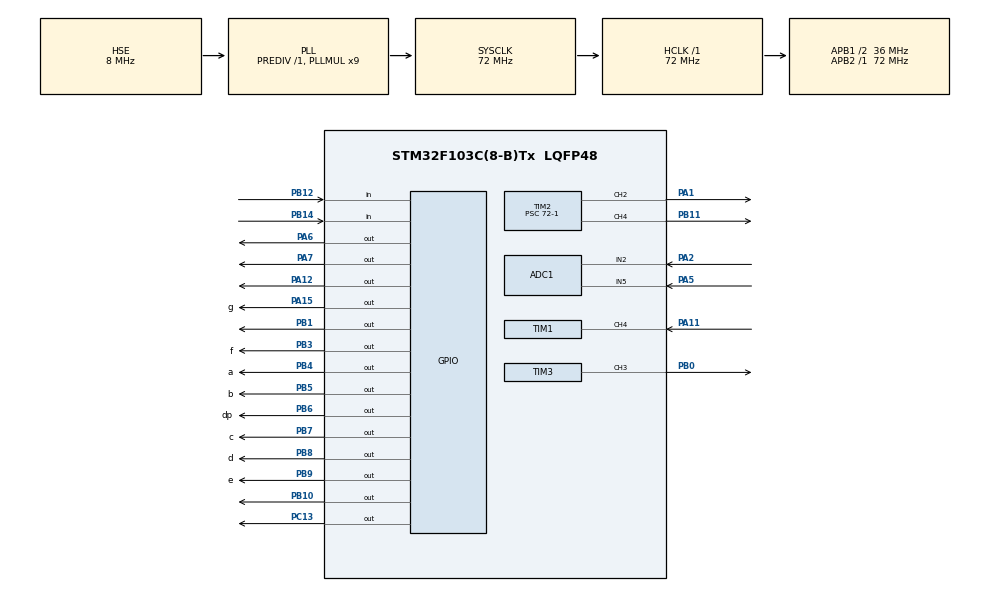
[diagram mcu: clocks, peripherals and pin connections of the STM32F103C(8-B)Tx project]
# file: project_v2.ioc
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ADC1.Channel-0\#ChannelRegularConversion=ADC_CHANNEL_2
ADC1.Channel-1\#ChannelRegularConversion=ADC_CHANNEL_5
ADC1.ContinuousConvMode=ENABLE
ADC1.ExternalTrigConv=ADC_SOFTWARE_START
ADC1.NbrOfConversion=2
ADC1.NbrOfConversionFlag=1
ADC1.Rank-0\#ChannelRegularConversion=1
ADC1.Rank-1\#ChannelRegularConversion=2
ADC1.SamplingTime-0\#ChannelRegularConversion=ADC_SAMPLETIME_239CYCLES_5
ADC1.SamplingTime-1\#ChannelRegularConversion=ADC_SAMPLETIME_239CYCLES_5
ADC1.master=1
Dma.ADC1.0.Direction=DMA_PERIPH_TO_MEMORY
Dma.ADC1.0.Instance=DMA1_Channel1
Dma.ADC1.0.MemDataAlignment=DMA_MDATAALIGN_HALFWORD
Dma.ADC1.0.MemInc=DMA_MINC_ENABLE
Dma.ADC1.0.Mode=DMA_CIRCULAR
Dma.ADC1.0.PeriphDataAlignment=DMA_PDATAALIGN_HALFWORD
Dma.ADC1.0.PeriphInc=DMA_PINC_DISABLE
Dma.ADC1.0.Priority=DMA_PRIORITY_LOW
Dma.Request0=ADC1
Mcu.Family=STM32F1
Mcu.Name=STM32F103C(8-B)Tx
Mcu.Package=LQFP48
NVIC.DMA1_Channel1_IRQn=true\:4\:0\:true\:false\:true\:false\:true\:true
NVIC.PriorityGroup=NVIC_PRIORITYGROUP_4
NVIC.TIM1_CC_IRQn=true\:0\:0\:false\:false\:true\:true\:true\:true
NVIC.TIM1_UP_IRQn=true\:0\:0\:false\:false\:true\:true\:true\:true
PA1.Signal=S_TIM2_CH2
PA11.Signal=S_TIM1_CH4
PA12.Signal=GPIO_Output
PA15.GPIO_Label=g
PA15.Signal=GPIO_Output
PA2.Signal=ADCx_IN2
PA5.Signal=ADCx_IN5
PA6.Signal=GPIO_Output
PA7.Signal=GPIO_Output
PB0.Signal=S_TIM3_CH3
PB1.Signal=GPIO_Output
PB10.Signal=GPIO_Output
PB11.Signal=S_TIM2_CH4
PB12.Signal=GPIO_Input
PB14.Signal=GPIO_Input
PB3.GPIO_Label=f
PB3.Signal=GPIO_Output
PB4.GPIO_Label=a
PB4.Signal=GPIO_Output
PB5.GPIO_Label=b
PB5.Signal=GPIO_Output
PB6.GPIO_Label=dp
PB6.Signal=GPIO_Output
PB7.GPIO_Label=c
PB7.Signal=GPIO_Output
PB8.GPIO_Label=d
PB8.Signal=GPIO_Output
PB9.GPIO_Label=e
PB9.Signal=GPIO_Output
PC13-TAMPER-RTC.Signal=GPIO_Output
PC14-OSC32_IN.Mode=LSE-External-Oscillator
PC14-OSC32_IN.Signal=RCC_OSC32_IN
PC15-OSC32_OUT.Mode=LSE-External-Oscillator
PC15-OSC32_OUT.Signal=RCC_OSC32_OUT
PD0-OSC_IN.Mode=HSE-External-Oscillator
PD0-OSC_IN.Signal=RCC_OSC_IN
PD1-OSC_OUT.Mode=HSE-External-Oscillator
PD1-OSC_OUT.Signal=RCC_OSC_OUT
ProjectManager.HeapSize=0x200
ProjectManager.StackSize=0x400
ProjectManager.TargetToolchain=CMake
RCC.ADCPresc=RCC_ADCPCLK2_DIV6
RCC.AHBFreq_Value=72000000
RCC.APB1CLKDivider=RCC_HCLK_DIV2
RCC.APB1Freq_Value=36000000
RCC.APB1TimFreq_Value=72000000
RCC.APB2Freq_Value=72000000
RCC.APB2TimFreq_Value=72000000
RCC.HCLKFreq_Value=72000000
RCC.PLLMUL=RCC_PLL_MUL9
RCC.PLLSourceVirtual=RCC_PLLSOURCE_HSE
RCC.SYSCLKFreq_VALUE=72000000
RCC.SYSCLKSource=RCC_SYSCLKSOURCE_PLLCLK
RCC.USBFreq_Value=72000000
SH.ADCx_IN2.0=ADC1_IN2,IN2
SH.ADCx_IN5.0=ADC1_IN5,IN5
SH.S_TIM1_CH4.0=TIM1_CH4,Input_Capture4_from_TI4
SH.S_TIM2_CH2.0=TIM2_CH2,PWM Generation2 CH2
SH.S_TIM2_CH4.0=TIM2_CH4,PWM Generation4 CH4
SH.S_TIM3_CH3.0=TIM3_CH3,PWM Generation3 CH3
TIM1.AutoReloadPreload=TIM_AUTORELOAD_PRELOAD_ENABLE
TIM1.Channel-Input_Capture4_from_TI4=TIM_CHANNEL_4
TIM1.Prescaler=72-1
TIM2.AutoReloadPreload=TIM_AUTORELOAD_PRELOAD_ENABLE
TIM2.Channel-PWM\ Generation2\ CH2=TIM_CHANNEL_2
TIM2.Channel-PWM\ Generation4\ CH4=TIM_CHANNEL_4
TIM2.Period=20000-1
TIM2.Prescaler=72-1
TIM3.AutoReloadPreload=TIM_AUTORELOAD_PRELOAD_ENABLE
TIM3.Channel-PWM\ Generation3\ CH3=TIM_CHANNEL_3
TIM3.Period=20000-1
TIM3.Prescaler=72-1
TIM3.TIM_MasterOutputTrigger=TIM_TRGO_UPDATE
TIM4.AutoReloadPreload=TIM_AUTORELOAD_PRELOAD_ENABLE
TIM4.Channel-Output\ Compare4\ No\ Output=TIM_CHANNEL_4
TIM4.OC4Preload=ENABLE
TIM4.Period=1000-1
TIM4.Prescaler=72-1
TIM4.Pulse-Output\ Compare4\ No\ Output=500-1
TIM4.TIM_MasterOutputTrigger=TIM_TRGO_UPDATE
VP_SYS_VS_ND.Mode=No_Debug
VP_TIM1_VS_ClockSourceINT.Mode=Internal
VP_TIM2_VS_ClockSourceINT.Mode=Internal
VP_TIM3_VS_ClockSourceINT.Mode=Internal
VP_TIM4_VS_ClockSourceINT.Mode=Internal
VP_TIM4_VS_no_output4.Mode=Output Compare4 No Output
board=custom

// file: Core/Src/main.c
/* USER CODE BEGIN Header */
/**
 ******************************************************************************
 * @file           : main.c
 * @brief          : Main program body
 ******************************************************************************
 * @attention
 *
 * Copyright (c) 2026 STMicroelectronics.
 * All rights reserved.
 *
 * This software is licensed under terms that can be found in the LICENSE file
 * in the root directory of this software component.
 * If no LICENSE file comes with this software, it is provided AS-IS.
 *
 ******************************************************************************
 */
/* USER CODE END Header */
#include "main.h"
#include "stm32f1xx_hal.h"
#include "stm32f1xx_hal_flash.h"
#include "stm32f1xx_hal_tim.h"
#include <stdint.h>

/* USER CODE BEGIN PTD */
typedef struct {
  uint8_t cur;
  uint8_t prev;
  uint8_t state;
} Buttons;

typedef struct {
  GPIO_TypeDef *in1base;
  GPIO_TypeDef *in2base;
  uint16_t in1pin;
  uint16_t in2pin;
  GPIO_PinState in1;
  GPIO_PinState in2;
  TIM_HandleTypeDef *tim;
  uint32_t channel;
  uint32_t speed;
} motor;

typedef enum { forward, backward } direction;
/* USER CODE END PTD */

/* USER CODE BEGIN PD */
#define BASE_SPEED 4900
#define BRAKE_SPEED 5700
#define TURN_SPEED 8000
#define STOP_DELAY_MS 250
#define TRIG_PIN GPIO_PIN_12
#define TRIG_PORT GPIOA
/* USER CODE END PD */

ADC_HandleTypeDef hadc1;
DMA_HandleTypeDef hdma_adc1;

TIM_HandleTypeDef htim1;
TIM_HandleTypeDef htim2;
TIM_HandleTypeDef htim3;
TIM_HandleTypeDef htim4;

/* USER CODE BEGIN PV */
volatile uint16_t adc_raw_val[2];
volatile uint16_t r2 = 0, l2 = 0;

// states
volatile uint8_t start1 = 0;
volatile uint8_t start2 = 0;
volatile uint8_t junc = 0;
volatile uint8_t obs = 0;

// thresholds
volatile uint16_t th_r2 = 0, th_l2 = 0;
volatile uint16_t low_r2 = 4095, low_l2 = 4095;
volatile uint16_t high_r2 = 0, high_l2 = 0;

volatile uint8_t stableB12, stableB14;

uint32_t IC_Val_Rise = 0;
uint32_t IC_Val_Fall = 0;
volatile uint32_t Difference = 0;
volatile uint32_t DISTANCE = 0;
uint32_t sticks = 0;
uint16_t TMR_OVC = 0;
uint8_t EDGE_STATE = 0;

uint8_t obstacle_count = 0;
uint8_t lap_count = 0;
uint8_t junc_count = 0;

Buttons start_Bt;
Buttons junc_Bt;
motor rightMotor, leftMotor;
/* USER CODE END PV */

void SystemClock_Config(void);
static void MX_GPIO_Init(void);
static void MX_DMA_Init(void);
static void MX_ADC1_Init(void);
static void MX_TIM4_Init(void);
static void MX_TIM3_Init(void);
static void MX_TIM2_Init(void);
static void MX_TIM1_Init(void);
/* USER CODE BEGIN PFP */
void SevenSeg_Update(uint8_t);
void ir_seven_seg(void);
void Line_Following(void);
void set_direction(motor *, direction);
void Apply_Motor_State(motor *);
void Delay_With_IR_Update(uint32_t);
void us_trigger(void);
uint32_t DWT_Delay_Init(void);
__STATIC_INLINE void DWT_Delay_us(volatile uint32_t);
uint8_t Get_Scaled_Reading(uint16_t);
void SevenSeg_LineFollow_Update(uint8_t, uint8_t, uint8_t, uint8_t, uint8_t);
void Perform_Obstacle_Sequence(void);
void SevenSeg_Clear(void);
void SevenSeg_Servo_Anim(uint8_t);
void Delay_With_US_Update(uint32_t);
/* USER CODE END PFP */

/* USER CODE BEGIN 0 */
void HAL_SYSTICK_Callback(void) {

  static uint_fast32_t B14c0 = 0, B14c1 = 0;
  static uint_fast32_t B12c0 = 0, B12c1 = 0;

  /* USER CODE BEGIN SysTick_IRQn 1 */
  // --- Button 14 Debounce ---
  if (HAL_GPIO_ReadPin(GPIOB, GPIO_PIN_14)) {
    B14c1++;
    B14c0 = 0;
    if (B14c1 >= 20) {
      stableB14 = 1;
    }
  } else {
    B14c0++;
    B14c1 = 0;
    if (B14c0 >= 20) {
      stableB14 = 0;
    }
  }

  // --- Button 12 Debounce ---
  if (HAL_GPIO_ReadPin(GPIOB, GPIO_PIN_12)) {
    B12c1++;
    B12c0 = 0;
    if (B12c1 >= 20) {
      stableB12 = 1;
    }
  } else {
    B12c0++;
    B12c1 = 0;
    if (B12c0 >= 20) {
      stableB12 = 0;
    }
  }
}

void HAL_TIM_IC_CaptureCallback(TIM_HandleTypeDef *htim) {
  if ((htim->Instance == TIM1) && (htim->Channel == HAL_TIM_ACTIVE_CHANNEL_4)) {
    if (EDGE_STATE == 0) {
      // Capture T1 & Reverse The ICU Edge Polarity
      IC_Val_Rise = HAL_TIM_ReadCapturedValue(htim, TIM_CHANNEL_4);
      EDGE_STATE = 1;
      __HAL_TIM_SET_CAPTUREPOLARITY(htim, TIM_CHANNEL_4,
                                    TIM_INPUTCHANNELPOLARITY_FALLING);
      TMR_OVC = 0;
    } else if (EDGE_STATE == 1) {
      // Read The Current ARR & Prescaler Values For The Timer
      uint16_t TMR_ARR = 65535;
      // Capture T2 & Calculate The Distance
      IC_Val_Fall = HAL_TIM_ReadCapturedValue(htim, TIM_CHANNEL_4);
      IC_Val_Fall += (TMR_OVC * (TMR_ARR + 1));
      Difference = IC_Val_Fall - IC_Val_Rise;
      // Write The Distance Value To The Global Struct & Reverse The ICU Edge

      EDGE_STATE = 0;
      __HAL_TIM_SET_CAPTUREPOLARITY(htim, TIM_CHANNEL_4,
                                    TIM_INPUTCHANNELPOLARITY_RISING);
    }
  }
}

void HAL_TIM_PeriodElapsedCallback(TIM_HandleTypeDef *htim) {
  if (htim->Instance == TIM1) {
    TMR_OVC++;
  }
}
/* USER CODE END 0 */

int main(void) {

  /* MCU Configuration--------------------------------------------------------*/

  /* Reset of all peripherals, Initializes the Flash interface and the Systick.
   */
  HAL_Init();

  /* Configure the system clock */
  SystemClock_Config();

  /* USER CODE BEGIN SysInit */
  DWT_Delay_Init();
  /* USER CODE END SysInit */

  /* Initialize all configured peripherals */
  MX_GPIO_Init();
  MX_DMA_Init();
  MX_ADC1_Init();
  MX_TIM4_Init();
  MX_TIM3_Init();
  MX_TIM2_Init();
  MX_TIM1_Init();
  /* USER CODE BEGIN 2 */
  HAL_ADC_Start_DMA(&hadc1, (uint32_t *)adc_raw_val, 2);
  uint32_t last_time_toggle = 0;
  uint32_t last_time_update = 0;
  uint32_t last_time_us_update = 0;
  uint32_t last_time_ping = 0;
  uint8_t show = 0;
  HAL_TIM_Base_Start(&htim4);
  HAL_TIM_Base_Start(&htim3);
  HAL_TIM_OC_Start(&htim4, TIM_CHANNEL_4);
  HAL_TIM_PWM_Start(&htim3, TIM_CHANNEL_3);
  HAL_TIM_PWM_Start(&htim2, TIM_CHANNEL_4);
  HAL_TIM_PWM_Start(&htim2, TIM_CHANNEL_2);
  set_direction(&rightMotor, forward);
  set_direction(&leftMotor, forward);
  HAL_TIM_IC_Start_IT(&htim1, TIM_CHANNEL_4);
  /* USER CODE END 2 */

  /* Infinite loop */
  /* USER CODE BEGIN WHILE */
  while (1) {
    start_Bt.cur = stableB12;

    if ((HAL_GetTick() - last_time_ping) >= 150) {
      us_trigger();
      last_time_ping = HAL_GetTick();
    }

    if (!start_Bt.cur && start_Bt.prev) {
      start_Bt.state = 1;
    } else {
      start_Bt.state = 0;
    }

    if (start_Bt.state && !start1) {
      start1 = 1;
    } else if (start_Bt.state && start1) {
      start2 = 1;
      th_l2 = (high_l2 + low_l2) / 2;
      th_r2 = (high_r2 + low_r2) / 2;
      SevenSeg_Update(10);
      HAL_Delay(3000);
    }

    r2 = adc_raw_val[1];
    l2 = adc_raw_val[0];

    if ((HAL_GetTick() - last_time_toggle) > 250) {
      HAL_GPIO_TogglePin(GPIOC, GPIO_PIN_13);
      last_time_toggle = HAL_GetTick();
    }

    if (!start2 && start1 && ((HAL_GetTick() - last_time_update) > 2000)) {
      if (show < 2) {
        show++;
      } else {
        show = 0;
      }
      last_time_update = HAL_GetTick();
    }

    if (start1 && !start2) {
      high_l2 = (l2 > high_l2) ? l2 : high_l2;
      high_r2 = (r2 > high_r2) ? r2 : high_r2;

      low_l2 = (l2 < low_l2) ? l2 : low_l2;
      low_r2 = (r2 < low_r2) ? r2 : low_r2;
      switch (show) {
      case 0:
        SevenSeg_Update(Get_Scaled_Reading(low_r2));
        break;

      case 1:
        SevenSeg_Update(Get_Scaled_Reading((high_r2 + low_r2) / 2));
        break;

      case 2:
        SevenSeg_Update(Get_Scaled_Reading(high_r2));
        break;

      default:
        break;
      }
    }

    if (start1 && start2 && !obs) {
      // forward
      Line_Following();

      // __HAL_TIM_SET_COMPARE(rightMotor.tim, rightMotor.channel,
      //                       rightMotor.speed);
      // HAL_GPIO_WritePin(rightMotor.in1base, rightMotor.in1pin,
      // rightMotor.in1); HAL_GPIO_WritePin(rightMotor.in2base,
      // rightMotor.in2pin, rightMotor.in2);

      // __HAL_TIM_SET_COMPARE(leftMotor.tim, leftMotor.channel,
      // leftMotor.speed); HAL_GPIO_WritePin(leftMotor.in1base,
      // leftMotor.in1pin, leftMotor.in1); HAL_GPIO_WritePin(leftMotor.in2base,
      // leftMotor.in2pin, leftMotor.in2); HAL_GPIO_WritePin(GPIOA, GPIO_PIN_6,
      // GPIO_PIN_RESET); HAL_GPIO_WritePin(GPIOA, GPIO_PIN_7, GPIO_PIN_SET);
    }

    if ((HAL_GetTick() - last_time_us_update) > 250) {
      DISTANCE = Difference / 58;
      uint32_t dist = DISTANCE;

      // Optional: If distance is too far, turn off the display
      if (Difference < 30000) { // If echo takes >30ms (too far)
        if (dist < 13) {
          obs = 1;
          __HAL_TIM_SET_COMPARE(rightMotor.tim, rightMotor.channel, 0);
          __HAL_TIM_SET_COMPARE(leftMotor.tim, leftMotor.channel, 0);
          Perform_Obstacle_Sequence();
        } else {
          obs = 0;
        }
      }
      last_time_us_update = HAL_GetTick();
    }

    start_Bt.prev = start_Bt.cur;
    /* USER CODE END WHILE */

  }
}

void SystemClock_Config(void) {
  RCC_OscInitTypeDef RCC_OscInitStruct = {0};
  RCC_ClkInitTypeDef RCC_ClkInitStruct = {0};
  RCC_PeriphCLKInitTypeDef PeriphClkInit = {0};

  /** Initializes the RCC Oscillators according to the specified parameters
   * in the RCC_OscInitTypeDef structure.
   */
  RCC_OscInitStruct.OscillatorType = RCC_OSCILLATORTYPE_HSE;
  RCC_OscInitStruct.HSEState = RCC_HSE_ON;
  RCC_OscInitStruct.HSEPredivValue = RCC_HSE_PREDIV_DIV1;
  RCC_OscInitStruct.HSIState = RCC_HSI_ON;
  RCC_OscInitStruct.PLL.PLLState = RCC_PLL_ON;
  RCC_OscInitStruct.PLL.PLLSource = RCC_PLLSOURCE_HSE;
  RCC_OscInitStruct.PLL.PLLMUL = RCC_PLL_MUL9;
  if (HAL_RCC_OscConfig(&RCC_OscInitStruct) != HAL_OK) {
    Error_Handler();
  }

  /** Initializes the CPU, AHB and APB buses clocks
   */
  RCC_ClkInitStruct.ClockType = RCC_CLOCKTYPE_HCLK | RCC_CLOCKTYPE_SYSCLK |
                                RCC_CLOCKTYPE_PCLK1 | RCC_CLOCKTYPE_PCLK2;
  RCC_ClkInitStruct.SYSCLKSource = RCC_SYSCLKSOURCE_PLLCLK;
  RCC_ClkInitStruct.AHBCLKDivider = RCC_SYSCLK_DIV1;
  RCC_ClkInitStruct.APB1CLKDivider = RCC_HCLK_DIV2;
  RCC_ClkInitStruct.APB2CLKDivider = RCC_HCLK_DIV1;

  if (HAL_RCC_ClockConfig(&RCC_ClkInitStruct, FLASH_LATENCY_2) != HAL_OK) {
    Error_Handler();
  }
  PeriphClkInit.PeriphClockSelection = RCC_PERIPHCLK_ADC;
  PeriphClkInit.AdcClockSelection = RCC_ADCPCLK2_DIV6;
  if (HAL_RCCEx_PeriphCLKConfig(&PeriphClkInit) != HAL_OK) {
    Error_Handler();
  }
}

static void MX_ADC1_Init(void) {

  ADC_ChannelConfTypeDef sConfig = {0};

  /** Common config
   */
  hadc1.Instance = ADC1;
  hadc1.Init.ScanConvMode = ADC_SCAN_ENABLE;
  hadc1.Init.ContinuousConvMode = ENABLE;
  hadc1.Init.DiscontinuousConvMode = DISABLE;
  hadc1.Init.ExternalTrigConv = ADC_SOFTWARE_START;
  hadc1.Init.DataAlign = ADC_DATAALIGN_RIGHT;
  hadc1.Init.NbrOfConversion = 2;
  if (HAL_ADC_Init(&hadc1) != HAL_OK) {
    Error_Handler();
  }

  /** Configure Regular Channel
   */
  sConfig.Channel = ADC_CHANNEL_2;
  sConfig.Rank = ADC_REGULAR_RANK_1;
  sConfig.SamplingTime = ADC_SAMPLETIME_239CYCLES_5;
  if (HAL_ADC_ConfigChannel(&hadc1, &sConfig) != HAL_OK) {
    Error_Handler();
  }

  /** Configure Regular Channel
   */
  sConfig.Channel = ADC_CHANNEL_5;
  sConfig.Rank = ADC_REGULAR_RANK_2;
  if (HAL_ADC_ConfigChannel(&hadc1, &sConfig) != HAL_OK) {
    Error_Handler();
  }
}

static void MX_TIM1_Init(void) {

  TIM_ClockConfigTypeDef sClockSourceConfig = {0};
  TIM_MasterConfigTypeDef sMasterConfig = {0};
  TIM_IC_InitTypeDef sConfigIC = {0};

  htim1.Instance = TIM1;
  htim1.Init.Prescaler = 72 - 1;
  htim1.Init.CounterMode = TIM_COUNTERMODE_UP;
  htim1.Init.Period = 65535;
  htim1.Init.ClockDivision = TIM_CLOCKDIVISION_DIV1;
  htim1.Init.RepetitionCounter = 0;
  htim1.Init.AutoReloadPreload = TIM_AUTORELOAD_PRELOAD_ENABLE;
  if (HAL_TIM_Base_Init(&htim1) != HAL_OK) {
    Error_Handler();
  }
  sClockSourceConfig.ClockSource = TIM_CLOCKSOURCE_INTERNAL;
  if (HAL_TIM_ConfigClockSource(&htim1, &sClockSourceConfig) != HAL_OK) {
    Error_Handler();
  }
  if (HAL_TIM_IC_Init(&htim1) != HAL_OK) {
    Error_Handler();
  }
  sMasterConfig.MasterOutputTrigger = TIM_TRGO_RESET;
  sMasterConfig.MasterSlaveMode = TIM_MASTERSLAVEMODE_DISABLE;
  if (HAL_TIMEx_MasterConfigSynchronization(&htim1, &sMasterConfig) != HAL_OK) {
    Error_Handler();
  }
  sConfigIC.ICPolarity = TIM_INPUTCHANNELPOLARITY_RISING;
  sConfigIC.ICSelection = TIM_ICSELECTION_DIRECTTI;
  sConfigIC.ICPrescaler = TIM_ICPSC_DIV1;
  sConfigIC.ICFilter = 0;
  if (HAL_TIM_IC_ConfigChannel(&htim1, &sConfigIC, TIM_CHANNEL_4) != HAL_OK) {
    Error_Handler();
  }
}

static void MX_TIM2_Init(void) {

  TIM_ClockConfigTypeDef sClockSourceConfig = {0};
  TIM_MasterConfigTypeDef sMasterConfig = {0};
  TIM_OC_InitTypeDef sConfigOC = {0};

  htim2.Instance = TIM2;
  htim2.Init.Prescaler = 72 - 1;
  htim2.Init.CounterMode = TIM_COUNTERMODE_UP;
  htim2.Init.Period = 20000 - 1;
  htim2.Init.ClockDivision = TIM_CLOCKDIVISION_DIV1;
  htim2.Init.AutoReloadPreload = TIM_AUTORELOAD_PRELOAD_ENABLE;
  if (HAL_TIM_Base_Init(&htim2) != HAL_OK) {
    Error_Handler();
  }
  sClockSourceConfig.ClockSource = TIM_CLOCKSOURCE_INTERNAL;
  if (HAL_TIM_ConfigClockSource(&htim2, &sClockSourceConfig) != HAL_OK) {
    Error_Handler();
  }
  if (HAL_TIM_PWM_Init(&htim2) != HAL_OK) {
    Error_Handler();
  }
  sMasterConfig.MasterOutputTrigger = TIM_TRGO_RESET;
  sMasterConfig.MasterSlaveMode = TIM_MASTERSLAVEMODE_DISABLE;
  if (HAL_TIMEx_MasterConfigSynchronization(&htim2, &sMasterConfig) != HAL_OK) {
    Error_Handler();
  }
  sConfigOC.OCMode = TIM_OCMODE_PWM1;
  sConfigOC.Pulse = 0;
  sConfigOC.OCPolarity = TIM_OCPOLARITY_HIGH;
  sConfigOC.OCFastMode = TIM_OCFAST_DISABLE;
  if (HAL_TIM_PWM_ConfigChannel(&htim2, &sConfigOC, TIM_CHANNEL_2) != HAL_OK) {
    Error_Handler();
  }
  if (HAL_TIM_PWM_ConfigChannel(&htim2, &sConfigOC, TIM_CHANNEL_4) != HAL_OK) {
    Error_Handler();
  }
  /* USER CODE BEGIN TIM2_Init 2 */

  rightMotor.tim = &htim2;
  rightMotor.channel = TIM_CHANNEL_4;
  /* USER CODE END TIM2_Init 2 */
  HAL_TIM_MspPostInit(&htim2);
}

static void MX_TIM3_Init(void) {

  TIM_ClockConfigTypeDef sClockSourceConfig = {0};
  TIM_MasterConfigTypeDef sMasterConfig = {0};
  TIM_OC_InitTypeDef sConfigOC = {0};

  htim3.Instance = TIM3;
  htim3.Init.Prescaler = 72 - 1;
  htim3.Init.CounterMode = TIM_COUNTERMODE_UP;
  htim3.Init.Period = 20000 - 1;
  htim3.Init.ClockDivision = TIM_CLOCKDIVISION_DIV1;
  htim3.Init.AutoReloadPreload = TIM_AUTORELOAD_PRELOAD_ENABLE;
  if (HAL_TIM_Base_Init(&htim3) != HAL_OK) {
    Error_Handler();
  }
  sClockSourceConfig.ClockSource = TIM_CLOCKSOURCE_INTERNAL;
  if (HAL_TIM_ConfigClockSource(&htim3, &sClockSourceConfig) != HAL_OK) {
    Error_Handler();
  }
  if (HAL_TIM_PWM_Init(&htim3) != HAL_OK) {
    Error_Handler();
  }
  sMasterConfig.MasterOutputTrigger = TIM_TRGO_UPDATE;
  sMasterConfig.MasterSlaveMode = TIM_MASTERSLAVEMODE_DISABLE;
  if (HAL_TIMEx_MasterConfigSynchronization(&htim3, &sMasterConfig) != HAL_OK) {
    Error_Handler();
  }
  sConfigOC.OCMode = TIM_OCMODE_PWM1;
  sConfigOC.Pulse = 0;
  sConfigOC.OCPolarity = TIM_OCPOLARITY_HIGH;
  sConfigOC.OCFastMode = TIM_OCFAST_DISABLE;
  if (HAL_TIM_PWM_ConfigChannel(&htim3, &sConfigOC, TIM_CHANNEL_3) != HAL_OK) {
    Error_Handler();
  }
  /* USER CODE BEGIN TIM3_Init 2 */
  leftMotor.tim = &htim3;
  leftMotor.channel = TIM_CHANNEL_3;
  /* USER CODE END TIM3_Init 2 */
  HAL_TIM_MspPostInit(&htim3);
}

static void MX_TIM4_Init(void) {

  TIM_ClockConfigTypeDef sClockSourceConfig = {0};
  TIM_MasterConfigTypeDef sMasterConfig = {0};
  TIM_OC_InitTypeDef sConfigOC = {0};

  htim4.Instance = TIM4;
  htim4.Init.Prescaler = 72 - 1;
  htim4.Init.CounterMode = TIM_COUNTERMODE_UP;
  htim4.Init.Period = 1000 - 1;
  htim4.Init.ClockDivision = TIM_CLOCKDIVISION_DIV1;
  htim4.Init.AutoReloadPreload = TIM_AUTORELOAD_PRELOAD_ENABLE;
  if (HAL_TIM_Base_Init(&htim4) != HAL_OK) {
    Error_Handler();
  }
  sClockSourceConfig.ClockSource = TIM_CLOCKSOURCE_INTERNAL;
  if (HAL_TIM_ConfigClockSource(&htim4, &sClockSourceConfig) != HAL_OK) {
    Error_Handler();
  }
  if (HAL_TIM_OC_Init(&htim4) != HAL_OK) {
    Error_Handler();
  }
  sMasterConfig.MasterOutputTrigger = TIM_TRGO_UPDATE;
  sMasterConfig.MasterSlaveMode = TIM_MASTERSLAVEMODE_DISABLE;
  if (HAL_TIMEx_MasterConfigSynchronization(&htim4, &sMasterConfig) != HAL_OK) {
    Error_Handler();
  }
  sConfigOC.OCMode = TIM_OCMODE_TIMING;
  sConfigOC.Pulse = 500 - 1;
  sConfigOC.OCPolarity = TIM_OCPOLARITY_HIGH;
  sConfigOC.OCFastMode = TIM_OCFAST_DISABLE;
  if (HAL_TIM_OC_ConfigChannel(&htim4, &sConfigOC, TIM_CHANNEL_4) != HAL_OK) {
    Error_Handler();
  }
  __HAL_TIM_ENABLE_OCxPRELOAD(&htim4, TIM_CHANNEL_4);
}

static void MX_DMA_Init(void) {

  /* DMA controller clock enable */
  __HAL_RCC_DMA1_CLK_ENABLE();

  /* DMA interrupt init */
  /* DMA1_Channel1_IRQn interrupt configuration */
  HAL_NVIC_SetPriority(DMA1_Channel1_IRQn, 4, 0);
  HAL_NVIC_EnableIRQ(DMA1_Channel1_IRQn);
}

static void MX_GPIO_Init(void) {
  GPIO_InitTypeDef GPIO_InitStruct = {0};

  /* GPIO Ports Clock Enable */
  __HAL_RCC_GPIOC_CLK_ENABLE();
  __HAL_RCC_GPIOD_CLK_ENABLE();
  __HAL_RCC_GPIOA_CLK_ENABLE();
  __HAL_RCC_GPIOB_CLK_ENABLE();

  /*Configure GPIO pin Output Level */
  HAL_GPIO_WritePin(GPIOC, GPIO_PIN_13, GPIO_PIN_RESET);

  /*Configure GPIO pin Output Level */
  HAL_GPIO_WritePin(GPIOA, GPIO_PIN_6 | GPIO_PIN_7 | GPIO_PIN_12 | g_Pin,
                    GPIO_PIN_RESET);

  /*Configure GPIO pin Output Level */
  HAL_GPIO_WritePin(GPIOB,
                    GPIO_PIN_1 | GPIO_PIN_10 | f_Pin | a_Pin | b_Pin | dp_Pin |
                        c_Pin | d_Pin | e_Pin,
                    GPIO_PIN_RESET);

  /*Configure GPIO pin : PC13 */
  GPIO_InitStruct.Pin = GPIO_PIN_13;
  GPIO_InitStruct.Mode = GPIO_MODE_OUTPUT_PP;
  GPIO_InitStruct.Pull = GPIO_NOPULL;
  GPIO_InitStruct.Speed = GPIO_SPEED_FREQ_LOW;
  HAL_GPIO_Init(GPIOC, &GPIO_InitStruct);

  /*Configure GPIO pins : PA6 PA7 PA12 g_Pin */
  GPIO_InitStruct.Pin = GPIO_PIN_6 | GPIO_PIN_7 | GPIO_PIN_12 | g_Pin;
  GPIO_InitStruct.Mode = GPIO_MODE_OUTPUT_PP;
  GPIO_InitStruct.Pull = GPIO_NOPULL;
  GPIO_InitStruct.Speed = GPIO_SPEED_FREQ_LOW;
  HAL_GPIO_Init(GPIOA, &GPIO_InitStruct);

  /*Configure GPIO pins : PB1 PB10 f_Pin a_Pin
                           b_Pin dp_Pin c_Pin d_Pin
                           e_Pin */
  GPIO_InitStruct.Pin = GPIO_PIN_1 | GPIO_PIN_10 | f_Pin | a_Pin | b_Pin |
                        dp_Pin | c_Pin | d_Pin | e_Pin;
  GPIO_InitStruct.Mode = GPIO_MODE_OUTPUT_PP;
  GPIO_InitStruct.Pull = GPIO_NOPULL;
  GPIO_InitStruct.Speed = GPIO_SPEED_FREQ_LOW;
  HAL_GPIO_Init(GPIOB, &GPIO_InitStruct);

  /*Configure GPIO pins : PB12 PB14 */
  GPIO_InitStruct.Pin = GPIO_PIN_12 | GPIO_PIN_14;
  GPIO_InitStruct.Mode = GPIO_MODE_INPUT;
  GPIO_InitStruct.Pull = GPIO_NOPULL;
  HAL_GPIO_Init(GPIOB, &GPIO_InitStruct);

  /* USER CODE BEGIN MX_GPIO_Init_2 */

  rightMotor.in1base = GPIOB;
  rightMotor.in2base = GPIOB;
  rightMotor.in1pin = GPIO_PIN_10;
  rightMotor.in2pin = GPIO_PIN_1;

  leftMotor.in1base = GPIOA;
  leftMotor.in1pin = GPIO_PIN_7;
  leftMotor.in2base = GPIOA;
  leftMotor.in2pin = GPIO_PIN_6;
  /* USER CODE END MX_GPIO_Init_2 */
}

/* USER CODE BEGIN 4 */
void SevenSeg_Update(uint8_t number) {
  // Segment logic (1 = ON)
  // Map: A, B, C, D, E, F, G
  // You must check if your display is Common Cathode (set PIN_SET to turn on)
  // or Common Anode (set PIN_RESET to turn on).
  // Assuming Common Cathode (Logic 1 = ON) below:

  uint8_t segs[11][7] = {
      // a, b, c, d, e, f, g
      {1, 1, 1, 1, 1, 1, 0}, // 0
      {0, 1, 1, 0, 0, 0, 0}, // 1
      {1, 1, 0, 1, 1, 0, 1}, // 2
      {1, 1, 1, 1, 0, 0, 1}, // 3
      {0, 1, 1, 0, 0, 1, 1}, // 4
      {1, 0, 1, 1, 0, 1, 1}, // 5
      {1, 0, 1, 1, 1, 1, 1}, // 6
      {1, 1, 1, 0, 0, 0, 0}, // 7
      {1, 1, 1, 1, 1, 1, 1}, // 8
      {1, 1, 1, 1, 0, 1, 1}, // 9
      {0, 0, 0, 0, 0, 0, 0}  // 10 (OFF)
  };

  // Clamp
  if (number > 10)
    number = 10;

  // Update GPIOA Pins (a, b, f, g)
  HAL_GPIO_WritePin(GPIOB, a_Pin,
                    segs[number][0] ? GPIO_PIN_SET : GPIO_PIN_RESET);
  HAL_GPIO_WritePin(GPIOB, b_Pin,
                    segs[number][1] ? GPIO_PIN_SET : GPIO_PIN_RESET);
  HAL_GPIO_WritePin(GPIOB, f_Pin,
                    segs[number][5] ? GPIO_PIN_SET : GPIO_PIN_RESET);
  HAL_GPIO_WritePin(GPIOA, g_Pin,
                    segs[number][6] ? GPIO_PIN_SET : GPIO_PIN_RESET);

  // Update GPIOB Pins (c, d, e)
  HAL_GPIO_WritePin(GPIOB, c_Pin,
                    segs[number][2] ? GPIO_PIN_SET : GPIO_PIN_RESET);
  HAL_GPIO_WritePin(GPIOB, d_Pin,
                    segs[number][3] ? GPIO_PIN_SET : GPIO_PIN_RESET);
  HAL_GPIO_WritePin(GPIOB, e_Pin,
                    segs[number][4] ? GPIO_PIN_SET : GPIO_PIN_RESET);

  // Note: 'dp_Pin' is usually kept off or used for other status
  HAL_GPIO_WritePin(GPIOB, dp_Pin, GPIO_PIN_RESET);
}

void set_direction(motor *mtr, direction dir) {
  if (dir) {
    mtr->in1 = GPIO_PIN_SET;
    mtr->in2 = GPIO_PIN_RESET;
  } else {
    mtr->in1 = GPIO_PIN_RESET;
    mtr->in2 = GPIO_PIN_SET;
  }
}

void ir_seven_seg(void) {
  HAL_GPIO_WritePin(GPIOB, b_Pin, (r2 > th_r2) ? GPIO_PIN_SET : GPIO_PIN_RESET);
  HAL_GPIO_WritePin(GPIOB, f_Pin, (l2 > th_l2) ? GPIO_PIN_SET : GPIO_PIN_RESET);
}

void Delay_With_IR_Update(uint32_t ms) {
  uint32_t start = HAL_GetTick();
  while ((HAL_GetTick() - start) < ms) {
    // 1. Refresh global variables from DMA
    r2 = adc_raw_val[1];
    l2 = adc_raw_val[0];

    // 2. Update Display
    SevenSeg_LineFollow_Update(l2 > th_l2, r2 > th_r2, 1, 1, obs);
  }
}

void Delay_With_US_Update(uint32_t ms) {
  uint32_t start = HAL_GetTick();
  while ((HAL_GetTick() - start) < ms) {
    // 1. Refresh global variables from DMA
    r2 = adc_raw_val[1];
    l2 = adc_raw_val[0];
    DISTANCE = Difference / 58;
    uint32_t dist = DISTANCE;

    // Optional: If distance is too far, turn off the display
    if (Difference < 30000) { // If echo takes >30ms (too far)
      if (dist < 13) {
        obs = 1;
        __HAL_TIM_SET_COMPARE(rightMotor.tim, rightMotor.channel, 0);
        __HAL_TIM_SET_COMPARE(leftMotor.tim, leftMotor.channel, 0);
        Perform_Obstacle_Sequence();
      } else {
        obs = 0;
      }
    }

    // 2. Update Display
    SevenSeg_LineFollow_Update(l2 > th_l2, r2 > th_r2, 1, 1, obs);
  }
}

void Line_Following(void) {
  if (adc_raw_val[1] > th_r2 && adc_raw_val[0] > th_l2) {
    junc = 1;
  }
  if (junc) {
    __HAL_TIM_SET_COMPARE(rightMotor.tim, rightMotor.channel, 0);
    __HAL_TIM_SET_COMPARE(leftMotor.tim, leftMotor.channel, 0);
    SevenSeg_LineFollow_Update(l2 > th_l2, r2 > th_r2, 0, 0, obs);
    junc_count++;
    uint32_t show_lap_dur = HAL_GetTick();
    while (junc) {
      // Refresh Sensors & Display inside the wait loop!
      if (junc_count >= 3) {
        junc_count = 0;
        lap_count++;
      }
      r2 = adc_raw_val[1];
      l2 = adc_raw_val[0];
      if ((HAL_GetTick() - show_lap_dur) < 2000) {
        SevenSeg_Update((lap_count > 9) ? 9 : lap_count);
      } else {
        SevenSeg_LineFollow_Update(l2 > th_l2, r2 > th_r2, 0, 0, obs);
      }
      junc_Bt.cur = stableB14;
      if (!junc_Bt.cur && junc_Bt.prev)
        junc_Bt.state = 1;
      else
        junc_Bt.state = 0;

      junc = !junc_Bt.state;
      junc_Bt.prev = junc_Bt.cur;
    }
    Apply_Motor_State(&rightMotor);
    Apply_Motor_State(&leftMotor);
    __HAL_TIM_SET_COMPARE(rightMotor.tim, rightMotor.channel, BRAKE_SPEED);
    __HAL_TIM_SET_COMPARE(leftMotor.tim, leftMotor.channel, 0);
    Delay_With_IR_Update(300);

    __HAL_TIM_SET_COMPARE(rightMotor.tim, rightMotor.channel, 0);
    __HAL_TIM_SET_COMPARE(leftMotor.tim, leftMotor.channel, 0);
    Delay_With_IR_Update(600);

    SevenSeg_LineFollow_Update(l2 > th_l2, r2 > th_r2, 1, 1, obs);
    set_direction(&rightMotor, forward);
    set_direction(&leftMotor, forward);
    Apply_Motor_State(&rightMotor);
    Apply_Motor_State(&leftMotor);
    __HAL_TIM_SET_COMPARE(rightMotor.tim, rightMotor.channel, BASE_SPEED);
    __HAL_TIM_SET_COMPARE(leftMotor.tim, leftMotor.channel, BASE_SPEED + 800);

    Delay_With_US_Update(400);
  }
  rightMotor.speed = BASE_SPEED * (adc_raw_val[1] < th_r2);
  leftMotor.speed = BASE_SPEED * (adc_raw_val[0] < th_l2);
  set_direction(&rightMotor, forward);
  set_direction(&leftMotor, forward);
  Apply_Motor_State(&rightMotor);
  Apply_Motor_State(&leftMotor);
  SevenSeg_LineFollow_Update(l2 > th_l2, r2 > th_r2, l2 < th_l2, r2 < th_r2,
                             obs);
  __HAL_TIM_SET_COMPARE(rightMotor.tim, rightMotor.channel, rightMotor.speed);
  __HAL_TIM_SET_COMPARE(leftMotor.tim, leftMotor.channel, leftMotor.speed);
}

void Apply_Motor_State(motor *mtr) {
  HAL_GPIO_WritePin(mtr->in1base, mtr->in1pin, mtr->in1);
  HAL_GPIO_WritePin(mtr->in2base, mtr->in2pin, mtr->in2);
}

void us_trigger(void) {
  HAL_GPIO_WritePin(TRIG_PORT, TRIG_PIN,
                    GPIO_PIN_SET); // pull the TRIG pin HIGH
  DWT_Delay_us(10);                // wait for 10 us
  HAL_GPIO_WritePin(TRIG_PORT, TRIG_PIN,
                    GPIO_PIN_RESET); // pull the TRIG pin low
}

uint32_t DWT_Delay_Init(void) {
  /* Disable TRC */
  CoreDebug->DEMCR &= ~CoreDebug_DEMCR_TRCENA_Msk; // ~0x01000000;
  /* Enable TRC */
  CoreDebug->DEMCR |= CoreDebug_DEMCR_TRCENA_Msk; // 0x01000000;

  /* Disable clock cycle counter */
  DWT->CTRL &= ~DWT_CTRL_CYCCNTENA_Msk; //~0x00000001;
  /* Enable  clock cycle counter */
  DWT->CTRL |= DWT_CTRL_CYCCNTENA_Msk; // 0x00000001;

  /* Reset the clock cycle counter value */
  DWT->CYCCNT = 0;

  /* 3 NO OPERATION instructions */
  __ASM volatile("NOP");
  __ASM volatile("NOP");
  __ASM volatile("NOP");

  /* Check if clock cycle counter has started */
  if (DWT->CYCCNT) {
    return 0; /*clock cycle counter started*/
  } else {
    return 1; /*clock cycle counter not started*/
  }
}

__STATIC_INLINE void DWT_Delay_us(volatile uint32_t au32_microseconds) {
  uint32_t au32_initial_ticks = DWT->CYCCNT;
  uint32_t au32_ticks = (HAL_RCC_GetHCLKFreq() / 1000000);
  au32_microseconds *= au32_ticks;
  while ((DWT->CYCCNT - au32_initial_ticks) < au32_microseconds - au32_ticks)
    ;
}

uint8_t Get_Scaled_Reading(uint16_t adc_val) {
  // 1. Scale 12-bit (4096) down to 10-bit (1024) to match image spec
  uint16_t val_10bit = adc_val / 4;

  // 2. Map 0-1023 to 0-9
  uint8_t disp = val_10bit / 100;
  if (disp > 9)
    disp = 9;

  return disp;
}

void SevenSeg_LineFollow_Update(uint8_t left_ir_on, uint8_t right_ir_on,
                                uint8_t left_motor_on, uint8_t right_motor_on,
                                uint8_t obstacle_on) {

  // --- Line Position Indicators (a, g, d) ---
  // Logic:
  // Center (g) = Both sensors see line (or stable)
  // Left (a)   = Only Left sees line
  // Right (d)  = Only Right sees line
  uint8_t pos_center = (!left_ir_on && !right_ir_on);
  uint8_t pos_left = (left_ir_on && !right_ir_on);
  uint8_t pos_right = (!left_ir_on && right_ir_on);

  // If lost (neither), we might default to Center or keep all OFF.
  // Here we strictly follow detection.

  HAL_GPIO_WritePin(GPIOB, a_Pin,
                    pos_left ? GPIO_PIN_SET : GPIO_PIN_RESET); // Top: Left
  HAL_GPIO_WritePin(GPIOA, g_Pin,
                    pos_center ? GPIO_PIN_SET : GPIO_PIN_RESET); // Mid: Center
  HAL_GPIO_WritePin(GPIOB, d_Pin,
                    pos_right ? GPIO_PIN_SET : GPIO_PIN_RESET); // Bot: Right

  // --- IR Sensor Readings (b, c) ---
  // Mapping: b (Top Right) = Left Sensor, c (Bot Right) = Right Sensor
  // (You can swap these if physical layout differs)
  HAL_GPIO_WritePin(GPIOB, b_Pin, left_ir_on ? GPIO_PIN_SET : GPIO_PIN_RESET);
  HAL_GPIO_WritePin(GPIOB, c_Pin, right_ir_on ? GPIO_PIN_SET : GPIO_PIN_RESET);

  // --- Motor Status (f, e) ---
  // f (Top Left) = Left Motor, e (Bot Left) = Right Motor
  HAL_GPIO_WritePin(GPIOB, f_Pin,
                    left_motor_on ? GPIO_PIN_SET : GPIO_PIN_RESET);
  HAL_GPIO_WritePin(GPIOB, e_Pin,
                    right_motor_on ? GPIO_PIN_SET : GPIO_PIN_RESET);

  // --- Obstacle Indicator (DP) ---
  HAL_GPIO_WritePin(GPIOB, dp_Pin, obstacle_on ? GPIO_PIN_SET : GPIO_PIN_RESET);
}

void Perform_Obstacle_Sequence(void) {
  // 1. Stop Motors
  __HAL_TIM_SET_COMPARE(rightMotor.tim, rightMotor.channel, 0);
  __HAL_TIM_SET_COMPARE(leftMotor.tim, leftMotor.channel, 0);

  // 2. Display PREVIOUS count (2 seconds)
  SevenSeg_Update(obstacle_count);
  HAL_Delay(2000);

  // 3. Servo Action 0 degrees (g + b)
  TIM2->CCR2 = 1000;
  SevenSeg_Servo_Anim(0);
  HAL_Delay(1000); // Wait for servo to move/clear

  // 4. Servo Action 90 degrees (g only)
  TIM2->CCR2 = 1500;
  SevenSeg_Servo_Anim(1);
  HAL_Delay(1000);

  // 5. Servo Action 180 degrees (g + c)
  TIM2->CCR2 = 2000;
  SevenSeg_Servo_Anim(2);
  HAL_Delay(1000);

  // Return Servo to center (optional, good practice)
  TIM2->CCR2 = 1000;

  // 6. Update Count (Max 9)
  if (obstacle_count < 9)
    obstacle_count++;

  // 7. Display NEW count (2 seconds)
  SevenSeg_Update(obstacle_count);
  HAL_Delay(2000);

  // 8. Resume (Handled by main loop state)
}

void SevenSeg_Clear(void) {
  HAL_GPIO_WritePin(GPIOB, a_Pin | b_Pin | c_Pin | d_Pin | e_Pin | f_Pin,
                    GPIO_PIN_RESET);
  HAL_GPIO_WritePin(GPIOA, g_Pin, GPIO_PIN_RESET);
  HAL_GPIO_WritePin(GPIOB, dp_Pin, GPIO_PIN_RESET);
}
// Display logic specifically for the Servo animation (b, c, g)
void SevenSeg_Servo_Anim(uint8_t angle_state) {
  SevenSeg_Clear();

  // Always Turn on G (Center) for all servo states
  HAL_GPIO_WritePin(GPIOA, g_Pin, GPIO_PIN_SET);

  if (angle_state == 0) {
    // 0 degrees -> g + b ON
    HAL_GPIO_WritePin(GPIOB, b_Pin, GPIO_PIN_SET);
  } else if (angle_state == 1) {
    // 90 degrees -> g ON only (already set above)
  } else if (angle_state == 2) {
    // 180 degrees -> g + c ON
    HAL_GPIO_WritePin(GPIOB, c_Pin, GPIO_PIN_SET);
  }
}
/* USER CODE END 4 */

void Error_Handler(void) {
  __disable_irq();
  while (1) {
  }
}
#ifdef USE_FULL_ASSERT
/**
 * @brief  Reports the name of the source file and the source line number
 *         where the assert_param error has occurred.
 * @param  file: pointer to the source file name
 * @param  line: assert_param error line source number
 * @retval None
 */
void assert_failed(uint8_t *file, uint32_t line) {
  /* USER CODE BEGIN 6 */
  /* User can add his own implementation to report the file name and line
     number, ex: printf("Wrong parameters value: file %s on line %d\r\n", file,
     line) */
  /* USER CODE END 6 */
}
#endif /* USE_FULL_ASSERT */
